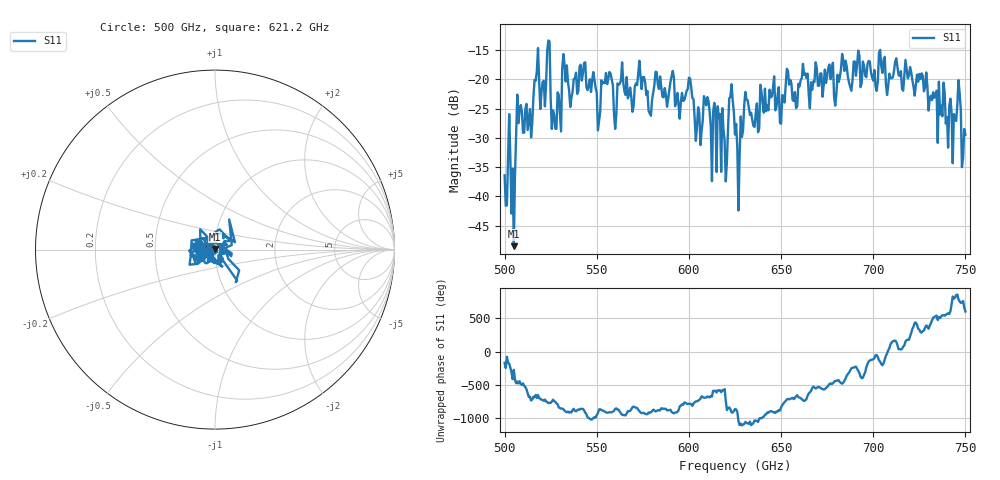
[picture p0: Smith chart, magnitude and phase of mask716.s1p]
!Created with skrf (http://scikit-rf.org).
# GHz S MA R 50.0
!freq magS11 angS11
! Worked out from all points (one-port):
!   401 points, 500 GHz to 750 GHz, reference 50 ohm
!   lowest |S11| = -48.5 dB at 505 GHz (marker M1), VSWR 1.01, Z = 50 + j0.375 ohm
!   |S11| at or under -10 dB: start of sweep to end of sweep
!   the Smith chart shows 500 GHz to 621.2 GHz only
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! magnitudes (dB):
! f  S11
! 500 GHz  -36.4
! 503.1 GHz  -33.5
! 505 GHz  -48.5
! 507.5 GHz  -27.5
! 513.8 GHz  -25.1
! 517.5 GHz  -18.5
! 520.6 GHz  -20.4
! 523.8 GHz  -13.3
! 526.9 GHz  -26.0
! 531.2 GHz  -18.2
! 542.5 GHz  -18.9
! 550.6 GHz  -28.7
! 562.5 GHz  -20.7
! 593.8 GHz  -22.3
! 600 GHz  -19.7
! 605 GHz  -24.7
! 609.4 GHz  -24.4
! 620 GHz  -37.4
! 623.1 GHz  -20.8
! 625 GHz  -29.4
! 627.5 GHz  -33.1
! 631.2 GHz  -23.4
! 656.2 GHz  -23.5
! 687.5 GHz  -21.2
! 718.8 GHz  -19.8
! 741.9 GHz  -23.3
! 746.2 GHz  -20.1
! 750 GHz  -29.4
